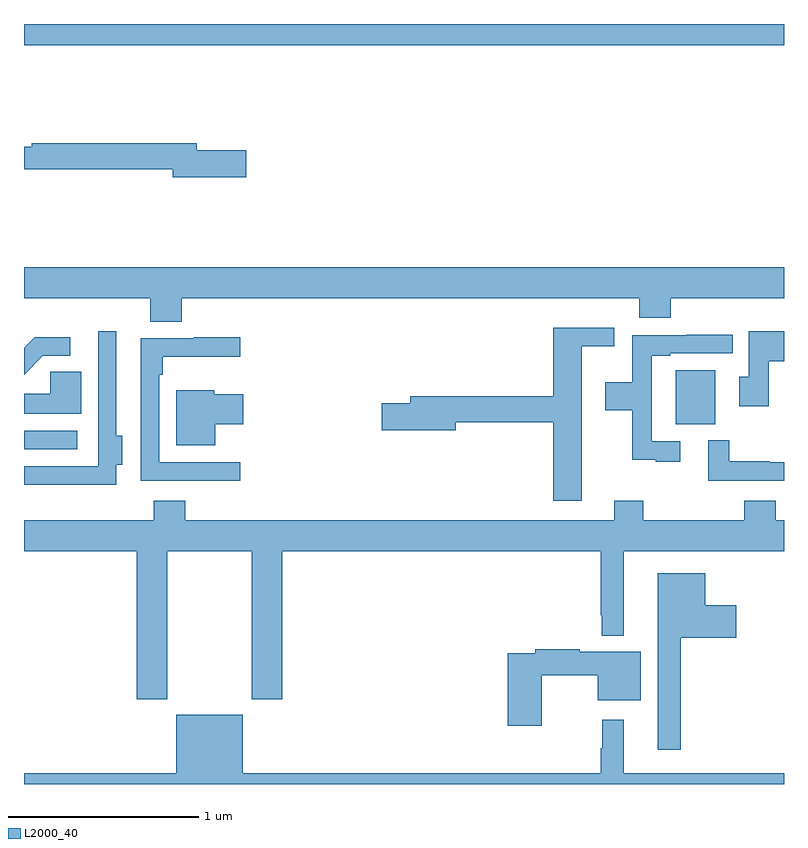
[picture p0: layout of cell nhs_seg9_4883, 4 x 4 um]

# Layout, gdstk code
import gdstk
lib = gdstk.Library(unit=1e-6, precision=1e-09)
def R(c, l, rs):  # rectangles x0, y0, x1, y1
    for r in rs: c.add(gdstk.rectangle(r[:2], r[2:], *l))
def P(c, l, *ps):  # polygons
    for p in ps: c.add(gdstk.Polygon(p, *l))
L2000_40 = (2000, 40)

nhs_seg9_4883 = lib.new_cell('nhs_seg9_4883')
R(nhs_seg9_4883, L2000_40, [(393,1226.262,393.28,1226.358), (396.431,1226.393,396.637,1226.677), (393,1228.388,397,1228.5)])
P(nhs_seg9_4883, L2000_40, [(394.171,1227.836),(393.91,1227.836),(393.91,1227.872),(393.04,1227.872),(393.04,1227.853),(393,1227.853),(393,1227.736),(393.782,1227.736),(393.782,1227.694),(394.171,1227.694)],
  [(393.83,1227.056),(396.239,1227.056),(396.239,1226.954),(396.404,1226.954),(396.404,1227.056),(397,1227.056),(397,1227.22),(393,1227.22),(393,1227.056),(393.665,1227.056),(393.665,1226.932),(393.83,1226.932)],
  [(395.935,1226.804),(396.106,1226.804),(396.106,1226.902),(395.786,1226.902),(395.786,1226.54),(395.033,1226.54),(395.033,1226.504),(394.884,1226.504),(394.884,1226.362),(395.272,1226.362),(395.272,1226.404),(395.786,1226.404),(395.786,1225.992),(395.935,1225.992)],
  [(396.919,1226.726),(397,1226.726),(397,1226.884),(396.815,1226.884),(396.815,1226.643),(396.765,1226.643),(396.765,1226.487),(396.919,1226.487)],
  [(393.486,1226.18),(393.517,1226.18),(393.517,1226.333),(393.486,1226.333),(393.486,1226.884),(393.39,1226.884),(393.39,1226.172),(393,1226.172),(393,1226.076),(393.055,1226.076),(393.055,1226.075),(393.486,1226.075)],
  [(396.454,1226.304),(396.303,1226.304),(396.303,1226.754),(396.4,1226.754),(396.4,1226.766),(396.73,1226.766),(396.73,1226.864),(396.487,1226.864),(396.487,1226.862),(396.202,1226.862),(396.202,1226.614),(396.06,1226.614),(396.06,1226.467),(396.202,1226.467),(396.202,1226.207),(396.326,1226.207),(396.326,1226.196),(396.454,1226.196)],
  [(393.099,1226.754),(393.244,1226.754),(393.244,1226.852),(393.056,1226.852),(393,1226.796),(393,1226.655)],
  [(394.138,1226.193),(393.711,1226.193),(393.711,1226.654),(393.731,1226.654),(393.731,1226.75),(394.138,1226.75),(394.138,1226.851),(393.893,1226.851),(393.893,1226.847),(393.615,1226.847),(393.615,1226.097),(394.138,1226.097)],
  [(393.301,1226.669),(393.138,1226.669),(393.138,1226.554),(393,1226.554),(393,1226.45),(393.301,1226.45)],
  [(394.006,1226.393),(394.153,1226.393),(394.153,1226.551),(394.002,1226.551),(394.002,1226.572),(393.8,1226.572),(393.8,1226.282),(394.006,1226.282)],
  [(397,1226.193),(396.926,1226.193),(396.926,1226.198),(396.712,1226.198),(396.712,1226.308),(396.602,1226.308),(396.602,1226.097),(397,1226.097)],
  [(393.753,1225.724),(394.198,1225.724),(394.198,1224.945),(394.358,1224.945),(394.358,1225.724),(396.036,1225.724),(396.036,1225.387),(396.042,1225.387),(396.042,1225.28),(396.157,1225.28),(396.157,1225.724),(397,1225.724),(397,1225.888),(396.956,1225.888),(396.956,1225.99),(396.791,1225.99),(396.791,1225.888),(396.26,1225.888),(396.26,1225.99),(396.107,1225.99),(396.107,1225.888),(393.848,1225.888),(393.848,1225.99),(393.683,1225.99),(393.683,1225.888),(393,1225.888),(393,1225.724),(393.593,1225.724),(393.593,1224.945),(393.753,1224.945)],
  [(396.457,1225.271),(396.748,1225.271),(396.748,1225.441),(396.586,1225.441),(396.586,1225.609),(396.335,1225.609),(396.335,1224.681),(396.457,1224.681)],
  [(395.724,1225.072),(396.02,1225.072),(396.02,1224.941),(396.247,1224.941),(396.247,1225.195),(395.924,1225.195),(395.924,1225.208),(395.692,1225.208),(395.692,1225.188),(395.546,1225.188),(395.546,1224.807),(395.724,1224.807)],
  [(397,1224.556),(396.157,1224.556),(396.157,1224.838),(396.043,1224.838),(396.043,1224.689),(396.036,1224.689),(396.036,1224.556),(394.15,1224.556),(394.15,1224.865),(393.8,1224.865),(393.8,1224.556),(393,1224.556),(393,1224.5),(397,1224.5)])

lib.write_gds('nhs_seg9_4883.gds')
